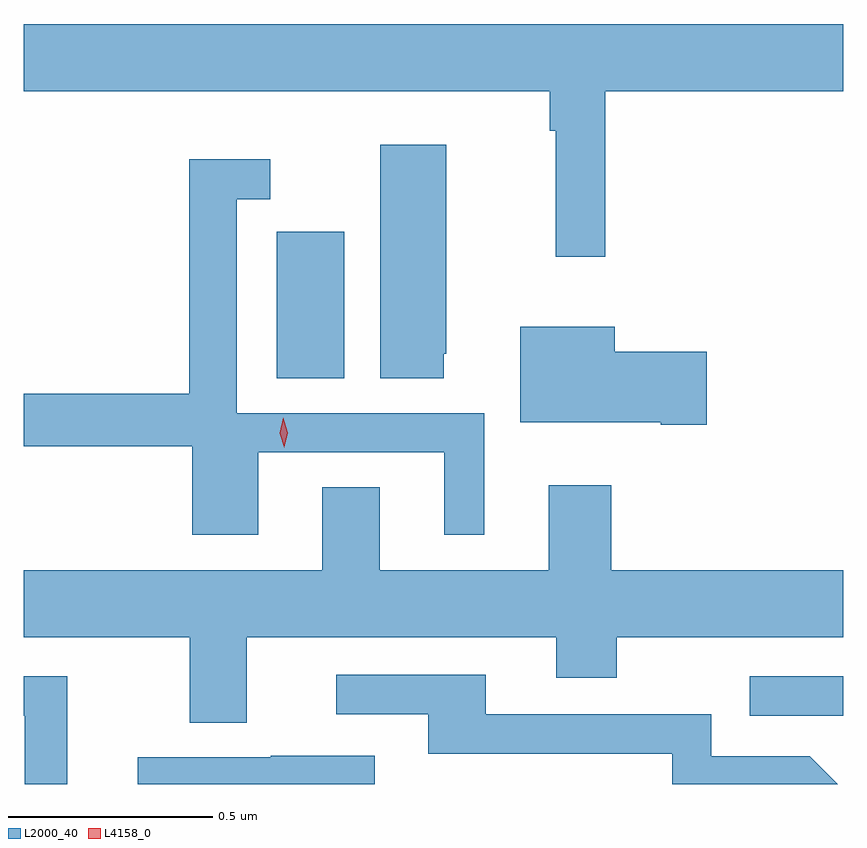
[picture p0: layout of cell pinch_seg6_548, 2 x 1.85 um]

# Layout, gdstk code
import gdstk
lib = gdstk.Library(unit=1e-6, precision=1e-09)
def R(c, l, rs):  # rectangles x0, y0, x1, y1
    for r in rs: c.add(gdstk.rectangle(r[:2], r[2:], *l))
def P(c, l, *ps):  # polygons
    for p in ps: c.add(gdstk.Polygon(p, *l))
L2000_40 = (2000, 40)
L4158_0 = (4158, 0)

pinch_seg6_548 = lib.new_cell('pinch_seg6_548')
R(pinch_seg6_548, L2000_40, [(783.423,939.153,783.652,939.249), (782.27,939.976,782.434,940.333)])
P(pinch_seg6_548, L2000_40, [(783.071,940.676),(783.652,940.676),(783.652,940.84),(781.652,940.84),(781.652,940.676),(782.935,940.676),(782.935,940.58),(782.95,940.58),(782.95,940.272),(783.071,940.272)],
  [(782.677,940.035),(782.683,940.035),(782.683,940.546),(782.522,940.546),(782.522,939.976),(782.677,939.976)],
  [(782.224,939.795),(782.678,939.795),(782.678,939.594),(782.776,939.594),(782.776,939.891),(782.172,939.891),(782.172,940.413),(782.254,940.413),(782.254,940.51),(782.056,940.51),(782.056,939.938),(781.652,939.938),(781.652,939.81),(782.063,939.81),(782.063,939.594),(782.224,939.594)],
  [(783.319,940.04),(783.094,940.04),(783.094,940.102),(782.864,940.102),(782.864,939.869),(783.206,939.869),(783.206,939.862),(783.319,939.862)],
  [(782.197,939.344),(782.951,939.344),(782.951,939.245),(783.099,939.245),(783.099,939.344),(783.652,939.344),(783.652,939.508),(783.086,939.508),(783.086,939.715),(782.933,939.715),(782.933,939.508),(782.521,939.508),(782.521,939.71),(782.381,939.71),(782.381,939.508),(781.652,939.508),(781.652,939.344),(782.057,939.344),(782.057,939.136),(782.197,939.136)],
  [(783.57,939.054),(783.33,939.054),(783.33,939.156),(782.779,939.156),(782.779,939.252),(782.415,939.252),(782.415,939.156),(782.639,939.156),(782.639,939.06),(783.234,939.06),(783.234,938.986),(783.638,938.986)],
  [(781.759,939.249),(781.652,939.249),(781.652,939.153),(781.655,939.153),(781.655,938.986),(781.759,938.986)],
  [(782.509,939.055),(782.255,939.055),(782.255,939.051),(781.931,939.051),(781.931,938.986),(782.509,938.986)])
P(pinch_seg6_548, L4158_0, [(782.288,939.806),(782.288,939.807),(782.277,939.842),(782.285,939.879),(782.286,939.879),(782.286,939.879),(782.297,939.843),(782.288,939.807)])

lib.write_gds('pinch_seg6_548.gds')
